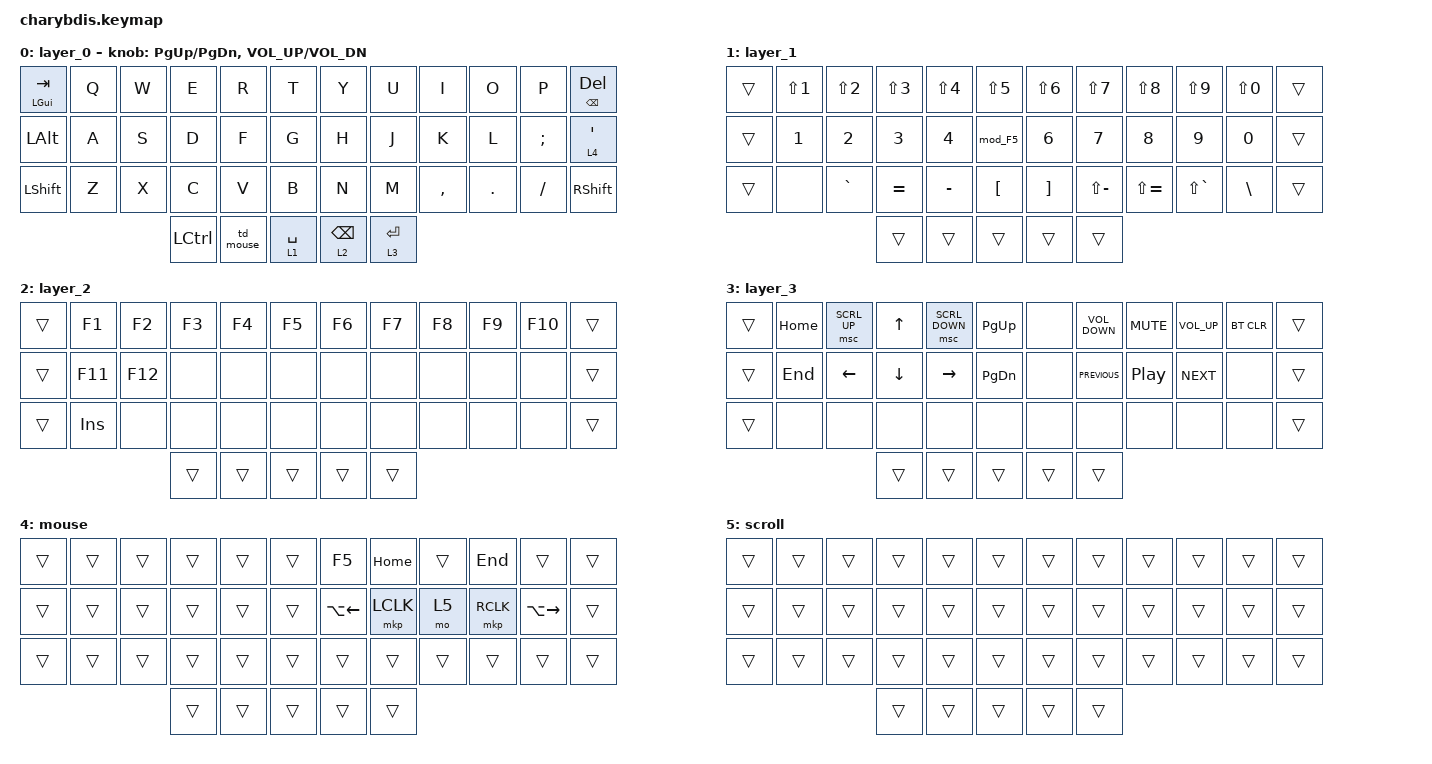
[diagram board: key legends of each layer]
#include <behaviors/num_word.dtsi>
#include <behaviors.dtsi>
#include <dt-bindings/zmk/bt.h>
#include <dt-bindings/zmk/keys.h>
#include <dt-bindings/zmk/pointing.h>

&lt {
    tapping-term-ms = <200>;
    flavor = "balanced";
    quick-tap-ms = <150>;
};

/ {
    combos {
        compatible = "zmk,combos";

        hanyoung {
            bindings = <&kp RIGHT_ALT>;
            key-positions = <20 19>;
        };

        esc {
            bindings = <&kp ESC>;
            key-positions = <15 16>;
        };

        capslock {
            bindings = <&kp CAPSLOCK>;
            key-positions = <1 2>;
        };

        printscreen {
            bindings = <&kp LG(LS(S))>;
            key-positions = <9 10>;
        };

        goback {
            bindings = <&kp LA(LEFT_ARROW)>;
            key-positions = <3 4>;
        };

        goforward {
            bindings = <&kp LA(RIGHT_ARROW)>;
            key-positions = <7 8>;
        };

        rctrl {
            bindings = <&kp RCTRL>;
            key-positions = <33 34>;
        };
    };

    behaviors {
        ht_mouse: ht_mouse {
            compatible = "zmk,behavior-hold-tap";
            label = "HT_MOUSE";
            bindings = <&mkp>, <&mkp>;

            #binding-cells = <2>;
            flavor = "hold-preferred";
            tapping-term-ms = <200>;
        };

        ht_delete: ht_delete {
            compatible = "zmk,behavior-hold-tap";
            label = "HT_DELETE";
            bindings = <&kp>, <&kp>;

            #binding-cells = <2>;
            tapping-term-ms = <200>;
            quick-tap-ms = <130>;
        };

        td_mouse: td_mouse {
            compatible = "zmk,behavior-tap-dance";
            label = "TD_MOUSE";
            #binding-cells = <0>;
            bindings = <&mkp LCLK>, <&mkp LCLK>, <&mkp RCLK>;

            tapping-term-ms = <250>;
        };

        ht_layer: ht_layer {
            compatible = "zmk,behavior-hold-tap";
            label = "HT_LAYER";
            bindings = <&tog>, <&kp>;

            #binding-cells = <2>;
            tapping-term-ms = <200>;
            quick-tap-ms = <130>;
        };

        mod_F5: mod_F5 {
            compatible = "zmk,behavior-mod-morph";
            label = "MOD_F5";
            bindings = <&kp NUMBER_5>, <&kp F5>;

            #binding-cells = <0>;
            mods = <(MOD_LALT)>;
        };
    };

    keymap {
        compatible = "zmk,keymap";

        layer_0 {
            bindings = <
&ht_delete LGUI TAB  &kp Q  &kp W  &kp E      &kp R      &kp T          &kp Y            &kp U        &kp I      &kp O       &kp P          &ht_delete BACKSPACE DELETE
&kp LEFT_ALT         &kp A  &kp S  &kp D      &kp F      &kp G          &kp H            &kp J        &kp K      &kp L       &kp SEMICOLON  &ht_layer 4 SQT
&kp LEFT_SHIFT       &kp Z  &kp X  &kp C      &kp V      &kp B          &kp N            &kp M        &kp COMMA  &kp PERIOD  &kp SLASH      &kp RIGHT_SHIFT
                                   &kp LCTRL  &td_mouse  &lt 1 SPACE    &lt 2 BACKSPACE  &lt 3 ENTER
            >;

            sensor-bindings = <&inc_dec_kp PG_UP PG_DN &inc_dec_kp C_VOL_UP C_VOL_DN>;
        };

        layer_1 {
            bindings = <
&trans  &kp LS(NUMBER_1)  &kp LS(NUMBER_2)  &kp LS(NUMBER_3)  &kp LS(NUMBER_4)  &kp LS(N5)          &kp LS(NUMBER_6)   &kp LS(N7)     &kp LS(N8)     &kp LS(N9)     &kp LS(N0)     &trans
&trans  &kp NUMBER_1      &kp NUMBER_2      &kp NUMBER_3      &kp NUMBER_4      &mod_F5             &kp NUMBER_6       &kp N7         &kp N8         &kp N9         &kp N0         &trans
&trans  &none             &kp GRAVE         &kp EQUAL         &kp MINUS         &kp LEFT_BRACKET    &kp RIGHT_BRACKET  &kp LS(MINUS)  &kp LS(EQUAL)  &kp LS(GRAVE)  &kp BACKSLASH  &trans
                                            &trans            &trans            &trans              &trans             &trans
            >;
        };

        layer_2 {
            bindings = <
&trans  &kp F1      &kp F2   &kp F3  &kp F4  &kp F5    &kp F6  &kp F7  &kp F8  &kp F9  &kp F10  &trans
&trans  &kp F11     &kp F12  &none   &none   &none     &none   &none   &none   &none   &none    &trans
&trans  &kp INSERT  &none    &none   &none   &none     &none   &none   &none   &none   &none    &trans
                             &trans  &trans  &trans    &trans  &trans
            >;
        };

        layer_3 {
            bindings = <
&trans  &kp HOME  &msc SCRL_UP    &kp UP_ARROW    &msc SCRL_DOWN   &kp PAGE_UP      &none   &kp C_VOLUME_DOWN  &kp C_MUTE        &kp C_VOLUME_UP  &bt BT_CLR  &trans
&trans  &kp END   &kp LEFT_ARROW  &kp DOWN_ARROW  &kp RIGHT_ARROW  &kp PAGE_DOWN    &none   &kp C_PREVIOUS     &kp C_PLAY_PAUSE  &kp C_NEXT       &none       &trans
&trans  &none     &none           &none           &none            &none            &none   &none              &none             &none            &none       &trans
                                  &trans          &trans           &trans           &trans  &trans
            >;
        };

        mouse {
            bindings = <
&trans  &trans  &trans  &trans  &trans  &trans    &kp F5              &kp HOME   &trans  &kp END    &trans               &trans
&trans  &trans  &trans  &trans  &trans  &trans    &kp LA(LEFT_ARROW)  &mkp LCLK  &mo 5   &mkp RCLK  &kp LA(RIGHT_ARROW)  &trans
&trans  &trans  &trans  &trans  &trans  &trans    &trans              &trans     &trans  &trans     &trans               &trans
                        &trans  &trans  &trans    &trans              &trans
            >;
        };

        scroll {
            bindings = <
&trans  &trans  &trans  &trans  &trans  &trans    &trans  &trans  &trans  &trans  &trans  &trans
&trans  &trans  &trans  &trans  &trans  &trans    &trans  &trans  &trans  &trans  &trans  &trans
&trans  &trans  &trans  &trans  &trans  &trans    &trans  &trans  &trans  &trans  &trans  &trans
                        &trans  &trans  &trans    &trans  &trans
            >;
        };
    };
};
